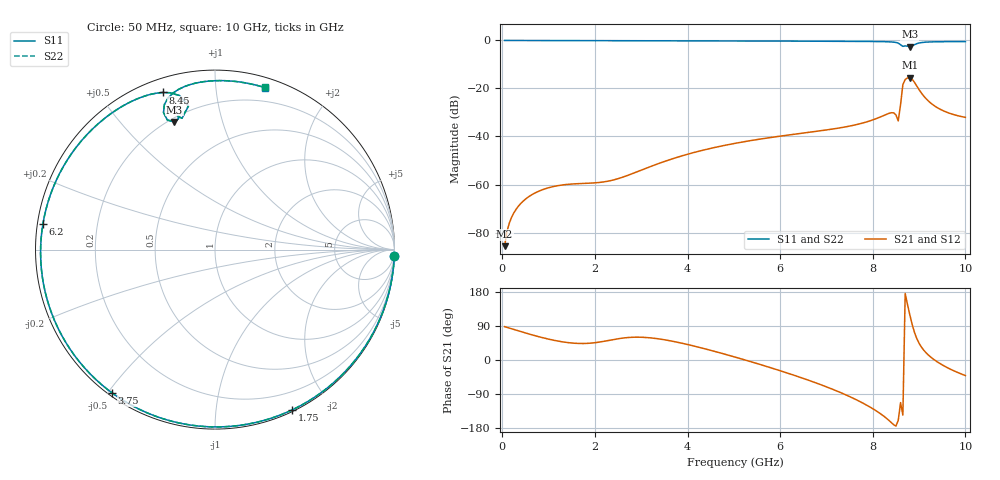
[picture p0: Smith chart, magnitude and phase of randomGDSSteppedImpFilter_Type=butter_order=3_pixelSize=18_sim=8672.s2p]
! freq	dB(S11)	phase(S11)	dB(S12)	phase(S12)
!  dB(S21)	phase(S21)	dB(S22)	phase(S22)
!S-par simulation data
#  GHz  S  DB  R 50
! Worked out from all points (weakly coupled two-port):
!   200 points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, 50 MHz to 10 GHz, reference 50 ohm
!   highest |S21| = -15.47 dB at 8.8 GHz (marker M1); lowest = -85.7 dB at 50 MHz (marker M2)
!   lowest |S11| = -2.6 dB at 8.8 GHz (marker M3), VSWR 6.86, Z = 11.1 + j35.4 ohm
!   |S11| at or under -10 dB: nowhere
!   |S22| runs from -2.5 to 0.0 dB; largest |S21 - S12| = 0
!   S11 on the Smith chart (normalised r, x): 50 MHz: 0, -59; 1.75 GHz: 0.02, -1.59; 3.75 GHz: 0.01, -0.51; 6.2 GHz: 0.02, +0.07; 8.45 GHz: 0.06, +0.72; 10 GHz: 0.08, +1.35
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0.05  -0.00 -1.9  -85.68 88.0  -85.68 88.0  -0.00 -1.9
0.1  -0.00 -3.9  -79.66 86.1  -79.66 86.1  -0.00 -3.9
0.2  -0.01 -7.7  -73.70 82.4  -73.70 82.4  -0.01 -7.7
0.3  -0.02 -11.5  -70.26 78.6  -70.26 78.6  -0.02 -11.5
0.6  -0.03 -22.9  -64.70 67.7  -64.70 67.7  -0.03 -22.9
1.1  -0.05 -41.4  -60.85 52.4  -60.85 52.4  -0.05 -41.4
1.75  -0.08 -64.4  -59.55 43.6  -59.55 43.6  -0.08 -64.4
2.55  -0.11 -90.6  -57.26 57.0  -57.26 57.0  -0.11 -90.6
3.4  -0.14 -115.9  -51.09 55.4  -51.09 55.4  -0.14 -115.9
3.75  -0.15 -125.7  -48.82 47.7  -48.82 47.7  -0.15 -125.7
5.05  -0.21 -159.8  -42.77 6.9  -42.77 6.9  -0.21 -159.8
6.2  -0.27 171.4  -39.33 -36.2  -39.33 -36.2  -0.27 171.5
6.7  -0.30 158.9  -38.06 -57.2  -38.06 -57.2  -0.30 158.9
7.6  -0.37 135.4  -35.26 -102.2  -35.26 -102.2  -0.37 135.5
8.35  -0.57 112.6  -30.36 -159.5  -30.36 -159.5  -0.57 112.7
8.45  -0.70 108.4  -30.14 -170.7  -30.14 -170.7  -0.70 108.5
8.55  -1.11 102.9  -33.51 -159.3  -33.51 -159.3  -1.10 103.0
8.65  -2.45 104.1  -18.39 -145.4  -18.39 -145.4  -2.44 104.1
8.8  -2.55 107.6  -15.47 119.3  -15.47 119.3  -2.55 107.7
8.95  -1.34 109.2  -18.98 56.7  -18.98 56.7  -1.34 109.2
9.3  -0.58 95.3  -26.80 3.0  -26.80 3.0  -0.58 95.3
10  -0.50 73.0  -32.03 -41.1  -32.03 -41.1  -0.50 73.0
